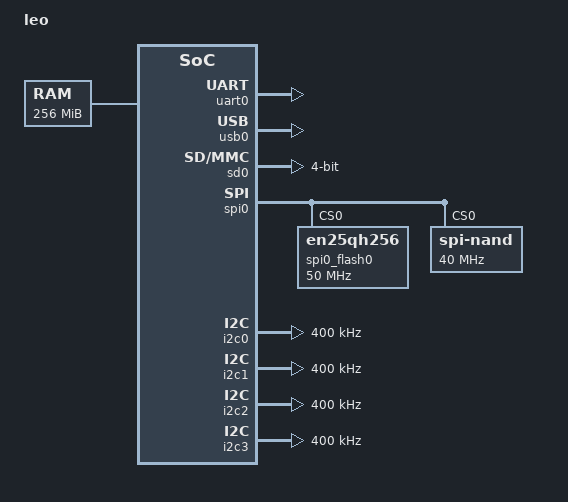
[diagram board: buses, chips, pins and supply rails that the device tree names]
/*
 * Copyright (C) 2014 Faraday, Inc. (www.faraday-tech.com)
 *
 * This program is free software; you can redistribute it and/or modify
 * it under the terms of the GNU General Public License version 2 as
 * published by the Free Software Foundation.
 */
 /dts-v1/;

#include <dt-bindings/interrupt-controller/arm-gic.h>

/  {
	model = "leo";
	compatible = "arm,faraday-soc";
	u-boot,dm-pre-reloc;
	#address-cells = <1>;
	#size-cells = <1>;
	
	aliases {
		serial0 = &uart0;
		spi0 = &spi0;
		i2c0 = &i2c0;
		i2c1 = &i2c1;
		i2c2 = &i2c2;
		i2c3 = &i2c3;
	};
	
	cpus {
		#address-cells = <1>;
		#size-cells = <0>;

		cpu@0 {
			device_type = "cpu";
			compatible = "arm,cortex-a7", "arm,armv7";
			reg = <0>;
		};
		cpu@1 {
			device_type = "cpu";
			compatible = "arm,cortex-a7", "arm,armv7";
			reg = <1>;
		};
		cpu@2 {
			device_type = "cpu";
			compatible = "arm,cortex-a7", "arm,armv7";
			reg = <2>;
		};
		cpu@3 {
			device_type = "cpu";
			compatible = "arm,cortex-a7", "arm,armv7";
			reg = <3>;
		};
	};
	
	memory@80000000 {
		device_type = "memory";
		reg = <0x80000000 0x10000000>;
	};
	
	chosen {
		bootargs = "mem=256M console=ttyS0,115200";
		stdout-path = "serial0:115200n8";
		tick-timer = &timer0;
	};
	
	gic: interrupt-controller@70000000 {
		compatible = "arm,cortex-a7-gic";
		interrupt-controller;
		#interrupt-cells = <3>;
		reg = <0x70001000 0x1000>,
		      <0x70002000 0x2000>,
		      <0x70004000 0x2000>,
		      <0x70006000 0x2000>;
	};
		
	timer0: timer@55300000 {
		compatible = "faraday,ftpwmtmr010-timer";
		interrupt-parent = <&gic>;
		reg = <0x55300000 0x1000>;
		interrupts = <GIC_SPI 20 IRQ_TYPE_LEVEL_HIGH>;
	};
	
	uart0: uart@54e000000 {
		compatible = "of_serial,ns16550_serial", "ns16550";
		interrupt-parent = <&gic>;
		clock-frequency = <58823529>;
		reg = <0x54e00000 0x1000>;
		reg-offset = <0>;
		reg-shift = <2>;
		reg-io-width = <4>;
		no-loopback-test;
	};
	
	usb0: usb@10200000 {
		compatible = "faraday-ehci";
		interrupt-parent = <&gic>;
		reg = <0x10200000 0x1000>;
		interrupts = <GIC_SPI 81 IRQ_TYPE_LEVEL_HIGH>;
		status = "okay";
	};
	
	usb1: usb@10300000 {
		compatible = "faraday-ehci";
		interrupt-parent = <&gic>;
		reg = <0x10300000 0x1000>;
		interrupts = <GIC_SPI 82 IRQ_TYPE_LEVEL_HIGH>;
		status = "disabled";
	};
	
	sd0: sd@12100000 {
		compatible = "faraday,ftsdc021-sdhci";
		interrupt-parent = <&gic>;
		reg = <0x12100000 0x1000>;
		interrupts = <GIC_SPI 67 IRQ_TYPE_LEVEL_HIGH>;
		bus-width = <4>;
		status = "okay";
	};
	
	sd1: sd@12200000 {
		compatible = "faraday,ftsdc021-sdhci";
		interrupt-parent = <&gic>;
		reg = <0x12200000 0x1000>;
		interrupts = <GIC_SPI 68 IRQ_TYPE_LEVEL_HIGH>;
		bus-width = <4>;
		status = "disabled";
	};
	
	spi0: spi@0x12000000 {
		compatible = "faraday,ftspi020_spi";
		interrupt-parent = <&gic>;
		reg = <0x12000000 0x200>;
		num-cs = <4>;
		cs = <0>;
		max_hz = <20000000>;
		interrupts = <GIC_SPI 69 IRQ_TYPE_EDGE_RISING>;
		#address-cells = <1>;
		#size-cells = <0>;
		
		spi0_flash0: spi0_flash0@0 {
			compatible = "en25qh256";
			#address-cells = <1>;
			#size-cells = <1>;
			spi-max-frequency = <50000000>;
			reg = <0>;
			
			spi0_flash0@00000000 {
			label = "spi0_flash0";
			reg = <0x0 0x100000>;
			};
		};
		
		spi-nand@0 {
			#address-cells = <1>;
			#size-cells = <1>;
			compatible = "spi-nand";
			spi-max-frequency = <40000000>;
			reg = <0>;
		};
	};
	
	i2c0: i2c@55500000 {
		compatible = "faraday,fti2c010-i2c";
		interrupt-parent = <&gic>;
		dev_id = <0>;
		reg = <0x55500000 0x1000>;
		clock-frequency = <400000>;
		status = "okay";
	};
	
	i2c1: i2c@55600000 {
		compatible = "faraday,fti2c010-i2c";
		interrupt-parent = <&gic>;
		dev_id = <1>;
		reg = <0x55600000 0x1000>;
		clock-frequency = <400000>;
		status = "okay";
	};
	
	i2c2: i2c@55700000 {
		compatible = "faraday,fti2c010-i2c";
		interrupt-parent = <&gic>;
		dev_id = <2>;
		reg = <0x55700000 0x1000>;
		clock-frequency = <400000>;
		status = "okay";
	};
	
	i2c3: i2c@56f00000 {
		compatible = "faraday,fti2c010-i2c";
		interrupt-parent = <&gic>;
		dev_id = <3>;
		reg = <0x56f00000 0x1000>;
		clock-frequency = <400000>;
		status = "okay";
	};
};
